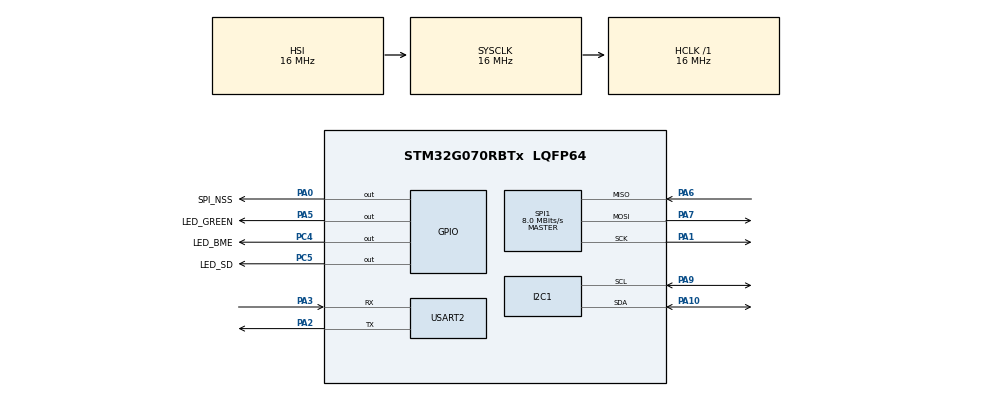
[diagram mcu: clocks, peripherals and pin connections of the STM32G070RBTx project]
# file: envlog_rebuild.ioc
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Dma.Request0=SPI1_TX
Dma.Request1=SPI1_RX
Dma.SPI1_RX.1.Direction=DMA_PERIPH_TO_MEMORY
Dma.SPI1_RX.1.EventEnable=DISABLE
Dma.SPI1_RX.1.Instance=DMA1_Channel2
Dma.SPI1_RX.1.MemDataAlignment=DMA_MDATAALIGN_BYTE
Dma.SPI1_RX.1.MemInc=DMA_MINC_ENABLE
Dma.SPI1_RX.1.Mode=DMA_NORMAL
Dma.SPI1_RX.1.PeriphDataAlignment=DMA_PDATAALIGN_BYTE
Dma.SPI1_RX.1.PeriphInc=DMA_PINC_DISABLE
Dma.SPI1_RX.1.Polarity=HAL_DMAMUX_REQ_GEN_RISING
Dma.SPI1_RX.1.Priority=DMA_PRIORITY_LOW
Dma.SPI1_RX.1.RequestNumber=1
Dma.SPI1_RX.1.SignalID=NONE
Dma.SPI1_RX.1.SyncEnable=DISABLE
Dma.SPI1_RX.1.SyncPolarity=HAL_DMAMUX_SYNC_NO_EVENT
Dma.SPI1_RX.1.SyncRequestNumber=1
Dma.SPI1_RX.1.SyncSignalID=NONE
Dma.SPI1_TX.0.Direction=DMA_MEMORY_TO_PERIPH
Dma.SPI1_TX.0.EventEnable=DISABLE
Dma.SPI1_TX.0.Instance=DMA1_Channel1
Dma.SPI1_TX.0.MemDataAlignment=DMA_MDATAALIGN_BYTE
Dma.SPI1_TX.0.MemInc=DMA_MINC_ENABLE
Dma.SPI1_TX.0.Mode=DMA_NORMAL
Dma.SPI1_TX.0.PeriphDataAlignment=DMA_PDATAALIGN_BYTE
Dma.SPI1_TX.0.PeriphInc=DMA_PINC_DISABLE
Dma.SPI1_TX.0.Polarity=HAL_DMAMUX_REQ_GEN_RISING
Dma.SPI1_TX.0.Priority=DMA_PRIORITY_LOW
Dma.SPI1_TX.0.RequestNumber=1
Dma.SPI1_TX.0.SignalID=NONE
Dma.SPI1_TX.0.SyncEnable=DISABLE
Dma.SPI1_TX.0.SyncPolarity=HAL_DMAMUX_SYNC_NO_EVENT
Dma.SPI1_TX.0.SyncRequestNumber=1
Dma.SPI1_TX.0.SyncSignalID=NONE
FREERTOS.Tasks01=defaultTask,24,128,StartDefaultTask,Default,NULL,Dynamic,NULL,NULL
I2C1.Timing=0x00503D58
Mcu.Family=STM32G0
Mcu.Name=STM32G070RBTx
Mcu.Package=LQFP64
NVIC.DMA1_Channel1_IRQn=true\:3\:0\:false\:false\:true\:true\:false\:true\:true
NVIC.DMA1_Channel2_3_IRQn=true\:3\:0\:false\:false\:true\:true\:false\:true\:true
NVIC.TIM1_BRK_UP_TRG_COM_IRQn=true\:3\:0\:false\:false\:true\:false\:false\:true\:true
NVIC.TimeBase=TIM1_BRK_UP_TRG_COM_IRQn
NVIC.TimeBaseIP=TIM1
PA0.GPIO_Label=SPI_NSS
PA0.GPIO_ModeDefaultOutputPP=GPIO_MODE_OUTPUT_OD
PA0.GPIO_PuPd=GPIO_PULLUP
PA0.PinState=GPIO_PIN_SET
PA0.Signal=GPIO_Output
PA1.Mode=Full_Duplex_Master
PA1.Signal=SPI1_SCK
PA10.Mode=I2C
PA10.Signal=I2C1_SDA
PA13.GPIO_Label=TMS
PA13.Signal=SYS_SWDIO
PA14-BOOT0.GPIO_Label=TCK
PA14-BOOT0.Signal=SYS_SWCLK
PA2.Mode=Asynchronous
PA2.Signal=USART2_TX
PA3.Mode=Asynchronous
PA3.Signal=USART2_RX
PA5.GPIO_Label=LED_GREEN
PA5.GPIO_ModeDefaultOutputPP=GPIO_MODE_OUTPUT_OD
PA5.GPIO_PuPd=GPIO_PULLUP
PA5.GPIO_Speed=GPIO_SPEED_FREQ_HIGH
PA5.Signal=GPIO_Output
PA6.Mode=Full_Duplex_Master
PA6.Signal=SPI1_MISO
PA7.Mode=Full_Duplex_Master
PA7.Signal=SPI1_MOSI
PA9.Mode=I2C
PA9.Signal=I2C1_SCL
PC13.Signal=SYS_WKUP2
PC14-OSC32_IN\ (PC14).Signal=RCC_OSC32_IN
PC15-OSC32_OUT\ (PC15).Signal=RCC_OSC32_OUT
PC4.GPIO_Label=LED_BME
PC4.Signal=GPIO_Output
PC5.GPIO_Label=LED_SD
PC5.GPIO_ModeDefaultOutputPP=GPIO_MODE_OUTPUT_PP
PC5.GPIO_PuPd=GPIO_NOPULL
PC5.Signal=GPIO_Output
PF0-OSC_IN\ (PF0).GPIO_Label=MCO
PF0-OSC_IN\ (PF0).Signal=RCC_OSC_IN
ProjectManager.HeapSize=0x200
ProjectManager.StackSize=0x400
ProjectManager.TargetToolchain=STM32CubeIDE
RCC.AHBFreq_Value=16000000
RCC.CortexFreq_Value=16000000
RCC.EXTERNAL_CLOCK_VALUE=12288000
RCC.HCLKFreq_Value=16000000
RCC.HSE_VALUE=8000000
RCC.HSI_VALUE=16000000
RCC.LSE_VALUE=32768
RCC.SYSCLKFreq_VALUE=16000000
RCC.VCOOutputFreq_Value=128000000
SPI1.CalculateBaudRate=8.0 MBits/s
SPI1.Direction=SPI_DIRECTION_2LINES
SPI1.Mode=SPI_MODE_MASTER
SPI1.VirtualType=VM_MASTER
USART2.VirtualMode-Asynchronous=VM_ASYNC
VP_FREERTOS_VS_CMSIS_V2.Mode=CMSIS_V2
VP_SYS_VS_tim1.Mode=TIM1
board=NUCLEO-G070RB

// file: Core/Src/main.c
/* USER CODE BEGIN Header */
/**
  ******************************************************************************
  * @file           : main.c
  * @brief          : Main program body
  ******************************************************************************
  * @attention
  *
  * Copyright (c) 2026 STMicroelectronics.
  * All rights reserved.
  *
  * This software is licensed under terms that can be found in the LICENSE file
  * in the root directory of this software component.
  * If no LICENSE file comes with this software, it is provided AS-IS.
  *
  ******************************************************************************
  */
/* USER CODE END Header */
#include "main.h"
#include "cmsis_os.h"

/* USER CODE BEGIN Includes */
#include <string.h> // for fatfs
#include <stdio.h>
#include "bme280.h"
#include "sd_driver.h"
#include "ff.h"
#include "FreeRTOS.h"
#include "task.h"
#include "queue.h"
#include "task_functions.h"
/* USER CODE END Includes */

I2C_HandleTypeDef hi2c1;

SPI_HandleTypeDef hspi1;
DMA_HandleTypeDef hdma_spi1_tx;
DMA_HandleTypeDef hdma_spi1_rx;

UART_HandleTypeDef huart2;

/* Definitions for defaultTask */
//osThreadId_t defaultTaskHandle;
//const osThreadAttr_t defaultTask_attributes = {
//  .name = "defaultTask",
//  .priority = (osPriority_t) osPriorityNormal,
//  .stack_size = 128 * 4
//};
/* USER CODE BEGIN PV */
volatile uint8_t dma_done = 0;

bme280_t bme;
sd_card_t sd;

FATFS fs;
FIL file;
FRESULT res;
UINT bw;

QueueHandle_t rtos_queue;

/* USER CODE END PV */

void SystemClock_Config(void);
static void MX_GPIO_Init(void);
static void MX_DMA_Init(void);
static void MX_I2C1_Init(void);
static void MX_USART2_UART_Init(void);
static void MX_SPI1_Init(void);
void StartDefaultTask(void *argument);

/* USER CODE BEGIN 0 */
int _write(int file, char *ptr, int len) {
    HAL_UART_Transmit(&huart2, (uint8_t *)ptr, len, HAL_MAX_DELAY);
    return len;
}

DWORD get_fattime(void) {
	return 0;
}
/* USER CODE END 0 */

int main(void)
{

  /* MCU Configuration--------------------------------------------------------*/

  /* Reset of all peripherals, Initializes the Flash interface and the Systick. */
  HAL_Init();

  /* Configure the system clock */
  SystemClock_Config();

  /* Initialize all configured peripherals */
  MX_GPIO_Init();
  MX_DMA_Init();
  MX_I2C1_Init();
  MX_USART2_UART_Init();
  MX_SPI1_Init();
  /* USER CODE BEGIN 2 */

  rtos_queue = xQueueCreate(10, sizeof(bme280_comp_data_t));

  xTaskCreate(task_read_sensor, "read_sensor", 216, NULL, 3, NULL);
  xTaskCreate(task_write_to_sd, "write_to_sd", 256, NULL, 3, NULL);

  printf("Free heap: %u bytes\r\n", xPortGetFreeHeapSize());

  vTaskStartScheduler();

  /* USER CODE END 2 */

  /* Init scheduler */
//  osKernelInitialize();

  /* Create the thread(s) */
  /* creation of defaultTask */
//  defaultTaskHandle = osThreadNew(StartDefaultTask, NULL, &defaultTask_attributes);

  /* Start scheduler */
//  osKernelStart();

  /* We should never get here as control is now taken by the scheduler */

  /* Infinite loop */
  while (1)
  {

  }
}

void SystemClock_Config(void)
{
  RCC_OscInitTypeDef RCC_OscInitStruct = {0};
  RCC_ClkInitTypeDef RCC_ClkInitStruct = {0};

  /** Configure the main internal regulator output voltage
  */
  HAL_PWREx_ControlVoltageScaling(PWR_REGULATOR_VOLTAGE_SCALE1);

  /** Initializes the RCC Oscillators according to the specified parameters
  * in the RCC_OscInitTypeDef structure.
  */
  RCC_OscInitStruct.OscillatorType = RCC_OSCILLATORTYPE_HSI;
  RCC_OscInitStruct.HSIState = RCC_HSI_ON;
  RCC_OscInitStruct.HSIDiv = RCC_HSI_DIV1;
  RCC_OscInitStruct.HSICalibrationValue = RCC_HSICALIBRATION_DEFAULT;
  RCC_OscInitStruct.PLL.PLLState = RCC_PLL_NONE;
  if (HAL_RCC_OscConfig(&RCC_OscInitStruct) != HAL_OK)
  {
    Error_Handler();
  }

  /** Initializes the CPU, AHB and APB buses clocks
  */
  RCC_ClkInitStruct.ClockType = RCC_CLOCKTYPE_HCLK|RCC_CLOCKTYPE_SYSCLK
                              |RCC_CLOCKTYPE_PCLK1;
  RCC_ClkInitStruct.SYSCLKSource = RCC_SYSCLKSOURCE_HSI;
  RCC_ClkInitStruct.AHBCLKDivider = RCC_SYSCLK_DIV1;
  RCC_ClkInitStruct.APB1CLKDivider = RCC_HCLK_DIV1;

  if (HAL_RCC_ClockConfig(&RCC_ClkInitStruct, FLASH_LATENCY_0) != HAL_OK)
  {
    Error_Handler();
  }
}

static void MX_I2C1_Init(void)
{

  hi2c1.Instance = I2C1;
  hi2c1.Init.Timing = 0x00503D58;
  hi2c1.Init.OwnAddress1 = 0;
  hi2c1.Init.AddressingMode = I2C_ADDRESSINGMODE_7BIT;
  hi2c1.Init.DualAddressMode = I2C_DUALADDRESS_DISABLE;
  hi2c1.Init.OwnAddress2 = 0;
  hi2c1.Init.OwnAddress2Masks = I2C_OA2_NOMASK;
  hi2c1.Init.GeneralCallMode = I2C_GENERALCALL_DISABLE;
  hi2c1.Init.NoStretchMode = I2C_NOSTRETCH_DISABLE;
  if (HAL_I2C_Init(&hi2c1) != HAL_OK)
  {
    Error_Handler();
  }

  /** Configure Analogue filter
  */
  if (HAL_I2CEx_ConfigAnalogFilter(&hi2c1, I2C_ANALOGFILTER_ENABLE) != HAL_OK)
  {
    Error_Handler();
  }

  /** Configure Digital filter
  */
  if (HAL_I2CEx_ConfigDigitalFilter(&hi2c1, 0) != HAL_OK)
  {
    Error_Handler();
  }

}

static void MX_SPI1_Init(void)
{

  /* SPI1 parameter configuration*/
  hspi1.Instance = SPI1;
  hspi1.Init.Mode = SPI_MODE_MASTER;
  hspi1.Init.Direction = SPI_DIRECTION_2LINES;
  hspi1.Init.DataSize = SPI_DATASIZE_4BIT;
  hspi1.Init.CLKPolarity = SPI_POLARITY_LOW;
  hspi1.Init.CLKPhase = SPI_PHASE_1EDGE;
  hspi1.Init.NSS = SPI_NSS_SOFT;
  hspi1.Init.BaudRatePrescaler = SPI_BAUDRATEPRESCALER_2;
  hspi1.Init.FirstBit = SPI_FIRSTBIT_MSB;
  hspi1.Init.TIMode = SPI_TIMODE_DISABLE;
  hspi1.Init.CRCCalculation = SPI_CRCCALCULATION_DISABLE;
  hspi1.Init.CRCPolynomial = 7;
  hspi1.Init.CRCLength = SPI_CRC_LENGTH_DATASIZE;
  hspi1.Init.NSSPMode = SPI_NSS_PULSE_ENABLE;
  if (HAL_SPI_Init(&hspi1) != HAL_OK)
  {
    Error_Handler();
  }

}

static void MX_USART2_UART_Init(void)
{

  huart2.Instance = USART2;
  huart2.Init.BaudRate = 115200;
  huart2.Init.WordLength = UART_WORDLENGTH_8B;
  huart2.Init.StopBits = UART_STOPBITS_1;
  huart2.Init.Parity = UART_PARITY_NONE;
  huart2.Init.Mode = UART_MODE_TX_RX;
  huart2.Init.HwFlowCtl = UART_HWCONTROL_NONE;
  huart2.Init.OverSampling = UART_OVERSAMPLING_16;
  huart2.Init.OneBitSampling = UART_ONE_BIT_SAMPLE_DISABLE;
  huart2.Init.ClockPrescaler = UART_PRESCALER_DIV1;
  huart2.AdvancedInit.AdvFeatureInit = UART_ADVFEATURE_NO_INIT;
  if (HAL_UART_Init(&huart2) != HAL_OK)
  {
    Error_Handler();
  }
  if (HAL_UARTEx_SetTxFifoThreshold(&huart2, UART_TXFIFO_THRESHOLD_1_8) != HAL_OK)
  {
    Error_Handler();
  }
  if (HAL_UARTEx_SetRxFifoThreshold(&huart2, UART_RXFIFO_THRESHOLD_1_8) != HAL_OK)
  {
    Error_Handler();
  }
  if (HAL_UARTEx_DisableFifoMode(&huart2) != HAL_OK)
  {
    Error_Handler();
  }

}

static void MX_DMA_Init(void)
{

  /* DMA controller clock enable */
  __HAL_RCC_DMA1_CLK_ENABLE();

  /* DMA interrupt init */
  /* DMA1_Channel1_IRQn interrupt configuration */
  HAL_NVIC_SetPriority(DMA1_Channel1_IRQn, 3, 0);
  HAL_NVIC_EnableIRQ(DMA1_Channel1_IRQn);
  /* DMA1_Channel2_3_IRQn interrupt configuration */
  HAL_NVIC_SetPriority(DMA1_Channel2_3_IRQn, 3, 0);
  HAL_NVIC_EnableIRQ(DMA1_Channel2_3_IRQn);

}

static void MX_GPIO_Init(void)
{
  GPIO_InitTypeDef GPIO_InitStruct = {0};

  /* GPIO Ports Clock Enable */
  __HAL_RCC_GPIOC_CLK_ENABLE();
  __HAL_RCC_GPIOF_CLK_ENABLE();
  __HAL_RCC_GPIOA_CLK_ENABLE();

  /*Configure GPIO pin Output Level */
  HAL_GPIO_WritePin(SPI_NSS_GPIO_Port, SPI_NSS_Pin, GPIO_PIN_SET);

  /*Configure GPIO pin Output Level */
  HAL_GPIO_WritePin(LED_GREEN_GPIO_Port, LED_GREEN_Pin, GPIO_PIN_RESET);

  /*Configure GPIO pin Output Level */
  HAL_GPIO_WritePin(GPIOC, LED_BME_Pin|LED_SD_Pin, GPIO_PIN_RESET);

  /*Configure GPIO pin : SPI_NSS_Pin */
  GPIO_InitStruct.Pin = SPI_NSS_Pin;
  GPIO_InitStruct.Mode = GPIO_MODE_OUTPUT_OD;
  GPIO_InitStruct.Pull = GPIO_PULLUP;
  GPIO_InitStruct.Speed = GPIO_SPEED_FREQ_LOW;
  HAL_GPIO_Init(SPI_NSS_GPIO_Port, &GPIO_InitStruct);

  /*Configure GPIO pin : LED_GREEN_Pin */
  GPIO_InitStruct.Pin = LED_GREEN_Pin;
  GPIO_InitStruct.Mode = GPIO_MODE_OUTPUT_OD;
  GPIO_InitStruct.Pull = GPIO_PULLUP;
  GPIO_InitStruct.Speed = GPIO_SPEED_FREQ_HIGH;
  HAL_GPIO_Init(LED_GREEN_GPIO_Port, &GPIO_InitStruct);

  /*Configure GPIO pins : LED_BME_Pin LED_SD_Pin */
  GPIO_InitStruct.Pin = LED_BME_Pin|LED_SD_Pin;
  GPIO_InitStruct.Mode = GPIO_MODE_OUTPUT_PP;
  GPIO_InitStruct.Pull = GPIO_NOPULL;
  GPIO_InitStruct.Speed = GPIO_SPEED_FREQ_LOW;
  HAL_GPIO_Init(GPIOC, &GPIO_InitStruct);

}

void StartDefaultTask(void *argument)
{
  for(;;)
  {
    osDelay(1);
  }
}

void HAL_TIM_PeriodElapsedCallback(TIM_HandleTypeDef *htim)
{
  if (htim->Instance == TIM1)
  {
    HAL_IncTick();
  }
}

void Error_Handler(void)
{
  __disable_irq();
  while (1)
  {
  }
}
